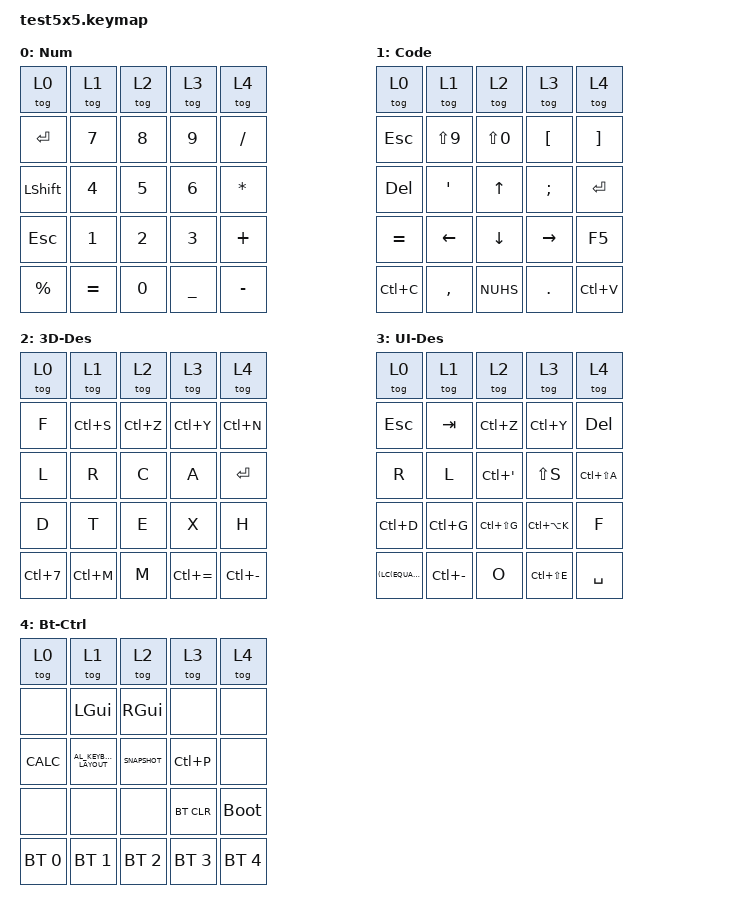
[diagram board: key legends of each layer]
#include <behaviors.dtsi>
#include <dt-bindings/zmk/keys.h>
#include <dt-bindings/zmk/bt.h>

/ {
        keymap {
        compatible = "zmk,keymap";

        default_layer { // Layer 0
            display-name = "Num";
// ----------------------------------------------
// |      layer1      |        Layer2       |      Layer3      |      layer4      |        Layer5       |
// |      Enter       |        7            |      8           |      9           |        /            |
// |      Shift       |        4            |      5           |      6           |        *            |
// |      Escape      |        1            |      2           |      3           |        +            |
// |      %           |        =            |      0           |      _           |        -            |
            bindings = <
                &tog 0  &tog 1  &tog 2  &tog 3  &tog 4
                &kp RET   &kp N7   &kp N8   &kp N9   &kp SLASH
                &kp LSHIFT   &kp N4   &kp N5   &kp N6   &kp ASTERISK
                &kp ESC   &kp N1   &kp N2   &kp N3   &kp PLUS
                &kp PERCENT   &kp EQUAL   &kp N0   &kp UNDERSCORE   &kp MINUS
            >;
        };
        layer2 { // Layer 2
            display-name = "Code";
// ----------------------------------------------
// |      layer1      |        Layer2       |      Layer3      |      layer4      |        Layer5       |
// ┌─────┬─────┬─────┬─────┬─────┐
// │ Esc │ (   │  )  │ []  │ {}  │
// ├─────┼─────┼─────┼─────┼─────┤
// │ Del │  '" │ Up  │ ;:  │ Ent │
// ├─────┼─────┼─────┼─────┼─────┤
// │ =   │Left │ Down│Right│ Run │
// ├─────┼─────┼─────┼─────┼─────┤
// │ copy│  ,< │ #   │  .> │paste│
// └─────┴─────┴─────┴─────┴─────┘

            bindings = <
                &tog 0  &tog 1  &tog 2  &tog 3  &tog 4
                &kp ESC   &kp LS(N9)   &kp LS(N0)   &kp LBKT   &kp RBKT
                &kp DEL   &kp APOS   &kp UP   &kp SEMI   &kp RET
                &kp EQUAL   &kp LEFT   &kp DOWN   &kp RIGHT   &kp F5
                &kp LC(C)   &kp COMMA   &kp NUHS   &kp DOT   &kp LC(V)
            >;
        };
        layer3 { // Layer 3
            display-name = "3D-Des";
// ----------------------------------------------
// |      layer1      |        Layer2       |      Layer3      |      layer4      |        Layer5       |
// ┌─────┬─────┬─────┬─────┬─────┐
// │FIlet│ save│ Undo│ Redo│  new│
// ├─────┼─────┼─────┼─────┼─────┤
// │ Line│ Rect│ Circ│ Arc │ ENT │
// ├─────┼─────┼─────┼─────┼─────┤
// │ Dim │ Trim│ Extr│ Cut │ Hole│
// ├─────┼─────┼─────┼─────┼─────┤
// │ Iso │miror│mate │ zoom│ faar│
// └─────┴─────┴─────┴─────┴─────┘

// 
            bindings = <
                &tog 0  &tog 1  &tog 2  &tog 3  &tog 4
                &kp F   &kp LC(S)   &kp LC(Z)   &kp LC(Y)   &kp LC(N)
                &kp L   &kp R   &kp C   &kp A   &kp RET
                &kp D   &kp T   &kp E   &kp X   &kp H
                &kp LC(N7)   &kp LC(M)   &kp M   &kp LC(EQUAL)   &kp LC(MINUS)
            >;
        };

        layer4 { // Layer 4
            display-name = "UI-Des";
// ----------------------------------------------
// |      layer1      |        Layer2       |      Layer3      |      layer4      |        Layer5       |
// ┌─────┬─────┬─────┬─────┬─────┐
// │ Esc │ Tab │ Undo│ Redo│ Del │
// ├─────┼─────┼─────┼─────┼─────┤
// │ rect│ line│ Grid│ Snap│Align│
// ├─────┼─────┼─────┼─────┼─────┤
// │ Dup │ Grp │ Ung │ Comp│Frame│
// ├─────┼─────┼─────┼─────┼─────┤
// │ Z+  │ Z-  │ circ│Expor│ Pan │
// └─────┴─────┴─────┴─────┴─────┘

            bindings = <
                &tog 0  &tog 1  &tog 2  &tog 3  &tog 4
                &kp ESC   &kp TAB   &kp LC(Z)   &kp LC(Y)   &kp DEL
                &kp R   &kp L   &kp LC(APOS)   &kp LS(S)   &kp LC(LS(A))
                &kp LC(D)   &kp LC(G)   &kp LC(LS(G))   &kp LC(LA(K))   &kp F
                &kp (LC(EQUAL))   &kp LC(MINUS)   &kp O   &kp LC(LS(E))   &kp SPACE
            >;
        };

        layer5 { // Layer 5
            display-name = "Bt-Ctrl";
// ----------------------------------------------
// |      layer1      |        Layer2       |      Layer3      |      layer4      |        Layer5       |
// ┌─────┬─────┬─────┬─────┬─────┐
// │     │ LGUI│ RGUI│     │     │
// ├─────┼─────┼─────┼─────┼─────┤
// │ calc│L-out│  SC │ prnt│     │
// ├─────┼─────┼─────┼─────┼─────┤
// │     │     │     │btclr│btldr│
// ├─────┼─────┼─────┼─────┼─────┤
// │ D1  │ D2  │ D3  │  D4 │ D5  │
// └─────┴─────┴─────┴─────┴─────┘
            bindings = <
                &tog 0  &tog 1  &tog 2  &tog 3  &tog 4
                &none   &kp LGUI   &kp RGUI   &none   &none
                &kp K_CALC   &kp C_AL_KEYBOARD_LAYOUT   &kp C_SNAPSHOT   &kp LC(P)   &none
                &none   &none   &none   &bt BT_CLR   &bootloader
                &bt BT_SEL 0   &bt BT_SEL 1   &bt BT_SEL 2   &bt BT_SEL 3   &bt BT_SEL 4
            >;
        };
    };
};
